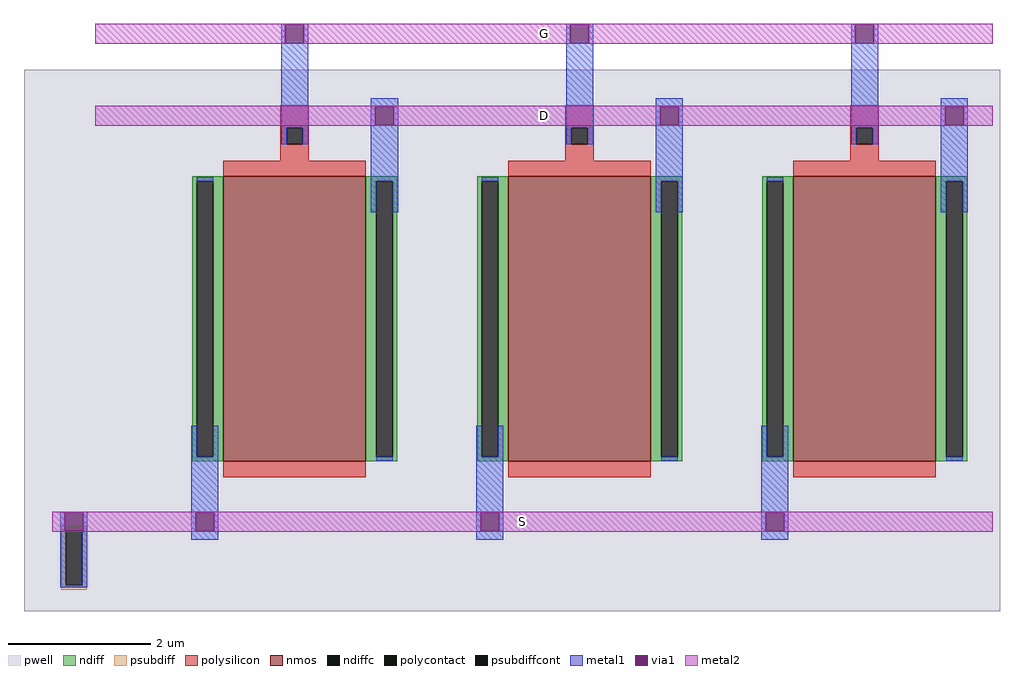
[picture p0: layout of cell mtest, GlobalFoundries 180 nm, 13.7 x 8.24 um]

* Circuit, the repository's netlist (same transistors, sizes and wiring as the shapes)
.subckt mtest D G S
XMT D G S S nfet_03v3 L=2u W=4u nf=1 m=3
.ends mtest

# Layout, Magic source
magic
tech gf180mcuD
magscale 1 10
<< pwell >>
rect -760 -820 1980 700
<< nmos >>
rect -200 -400 200 400
rect 600 -400 1000 400
rect 1400 -400 1800 400
<< ndiff >>
rect -288 387 -200 400
rect -288 -387 -275 387
rect -229 -387 -200 387
rect -288 -400 -200 -387
rect 200 387 288 400
rect 200 -387 229 387
rect 275 -387 288 387
rect 200 -400 288 -387
rect 512 387 600 400
rect 512 -387 525 387
rect 571 -387 600 387
rect 512 -400 600 -387
rect 1000 387 1088 400
rect 1000 -387 1029 387
rect 1075 -387 1088 387
rect 1000 -400 1088 -387
rect 1312 387 1400 400
rect 1312 -387 1325 387
rect 1371 -387 1400 387
rect 1312 -400 1400 -387
rect 1800 387 1888 400
rect 1800 -387 1829 387
rect 1875 -387 1888 387
rect 1800 -400 1888 -387
<< ndiffc >>
rect -275 -387 -229 387
rect 229 -387 275 387
rect 525 -387 571 387
rect 1029 -387 1075 387
rect 1325 -387 1371 387
rect 1829 -387 1875 387
<< psubdiff >>
rect -656 -593 -584 -580
rect -656 -747 -643 -593
rect -597 -747 -584 -593
rect -656 -760 -584 -747
<< psubdiffcont >>
rect -643 -747 -597 -593
<< polysilicon >>
rect -40 536 40 600
rect -40 490 -23 536
rect 23 490 40 536
rect -40 444 40 490
rect 760 536 840 600
rect 760 490 777 536
rect 823 490 840 536
rect 760 444 840 490
rect 1560 536 1640 600
rect 1560 490 1577 536
rect 1623 490 1640 536
rect 1560 444 1640 490
rect -200 400 200 444
rect 600 400 1000 444
rect 1400 400 1800 444
rect -200 -444 200 -400
rect 600 -444 1000 -400
rect 1400 -444 1800 -400
<< polycontact >>
rect -23 490 23 536
rect 777 490 823 536
rect 1577 490 1623 536
<< metal1 >>
rect -38 826 38 828
rect -38 774 -26 826
rect 26 774 38 826
rect -38 536 38 774
rect 762 826 838 828
rect 762 774 774 826
rect 826 774 838 826
rect -38 490 -23 536
rect 23 490 38 536
rect 214 596 290 620
rect 214 544 226 596
rect 278 544 290 596
rect -275 387 -229 398
rect -290 -387 -275 -300
rect 214 387 290 544
rect 762 536 838 774
rect 1562 826 1638 828
rect 1562 774 1574 826
rect 1626 774 1638 826
rect 762 490 777 536
rect 823 490 838 536
rect 1014 596 1090 620
rect 1014 544 1026 596
rect 1078 544 1090 596
rect 214 300 229 387
rect -229 -387 -214 -300
rect -658 -544 -582 -542
rect -658 -596 -646 -544
rect -594 -596 -582 -544
rect -658 -747 -643 -596
rect -597 -747 -582 -596
rect -290 -544 -214 -387
rect 275 300 290 387
rect 525 387 571 398
rect 229 -398 275 -387
rect 510 -387 525 -300
rect 1014 387 1090 544
rect 1562 536 1638 774
rect 1562 490 1577 536
rect 1623 490 1638 536
rect 1814 596 1890 620
rect 1814 544 1826 596
rect 1878 544 1890 596
rect 1014 300 1029 387
rect 571 -387 586 -300
rect -290 -596 -278 -544
rect -226 -596 -214 -544
rect -290 -620 -214 -596
rect 510 -544 586 -387
rect 1075 300 1090 387
rect 1325 387 1371 398
rect 1029 -398 1075 -387
rect 1310 -387 1325 -300
rect 1814 387 1890 544
rect 1814 300 1829 387
rect 1371 -387 1386 -300
rect 510 -596 522 -544
rect 574 -596 586 -544
rect 510 -620 586 -596
rect 1310 -544 1386 -387
rect 1875 300 1890 387
rect 1829 -398 1875 -387
rect 1310 -596 1322 -544
rect 1374 -596 1386 -544
rect 1310 -620 1386 -596
rect -658 -753 -582 -747
<< via1 >>
rect -26 774 26 826
rect 774 774 826 826
rect 226 544 278 596
rect 1574 774 1626 826
rect 1026 544 1078 596
rect -646 -593 -594 -544
rect -646 -596 -643 -593
rect -643 -596 -597 -593
rect -597 -596 -594 -593
rect 1826 544 1878 596
rect -278 -596 -226 -544
rect 522 -596 574 -544
rect 1322 -596 1374 -544
<< metal2 >>
rect -560 826 1960 828
rect -560 774 -26 826
rect 26 774 774 826
rect 826 774 1574 826
rect 1626 774 1960 826
rect -560 772 1960 774
rect -560 596 1960 598
rect -560 544 226 596
rect 278 544 1026 596
rect 1078 544 1826 596
rect 1878 544 1960 596
rect -560 542 1960 544
rect -680 -544 1960 -542
rect -680 -596 -646 -544
rect -594 -596 -278 -544
rect -226 -596 522 -544
rect 574 -596 1322 -544
rect 1374 -596 1960 -544
rect -680 -598 1960 -596
<< labels >>
rlabel metal2 -560 542 1960 598 1 D
port 1 n
rlabel metal2 -680 -598 1960 -542 1 S
port 2 n
rlabel metal2 -560 772 1960 828 1 G
port 3 n
<< end >>
